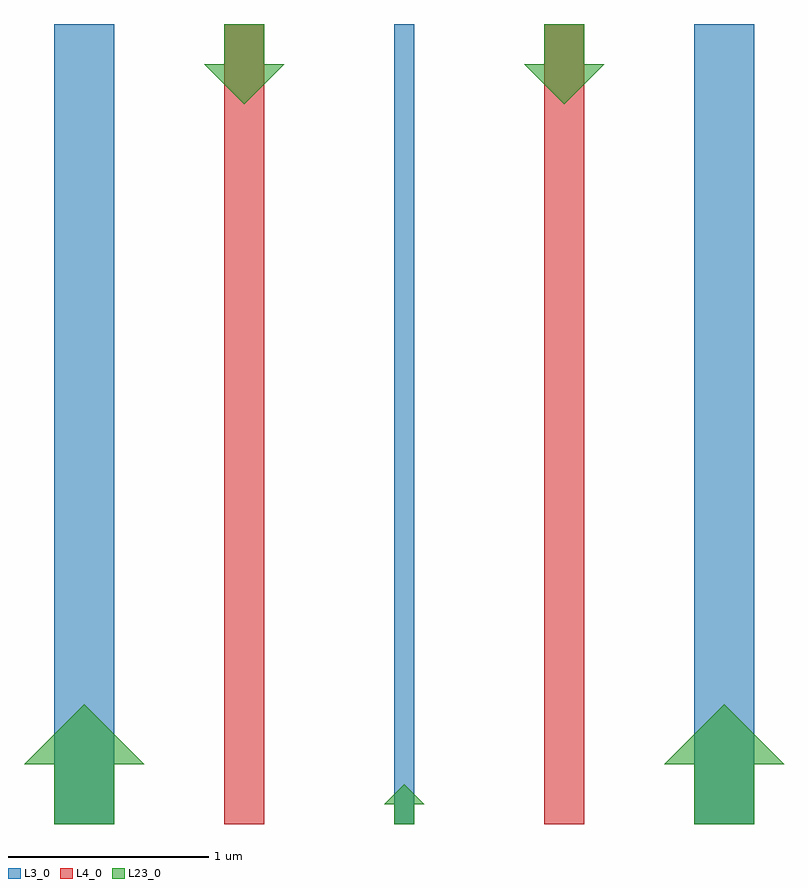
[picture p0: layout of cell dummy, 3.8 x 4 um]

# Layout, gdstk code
from math import pi, radians
import gdstk
lib = gdstk.Library(unit=1e-6, precision=1e-09)
def R(c, l, rs):  # rectangles x0, y0, x1, y1
    for r in rs: c.add(gdstk.rectangle(r[:2], r[2:], *l))
def P(c, l, *ps):  # polygons
    for p in ps: c.add(gdstk.Polygon(p, *l))
L3_0 = (3, 0)
L4_0 = (4, 0)
L23_0 = (23, 0)

mark = lib.new_cell('mark')
P(mark, L23_0, [(0.5,0),(0.5,1),(1,1),(0,2),(-1,1),(-0.5,1),(-0.5,0)])

dummy = lib.new_cell('dummy')
R(dummy, L3_0, [(-1.75,-2,-1.45,2), (-0.05,-2,0.05,2), (1.45,-2,1.75,2)])
R(dummy, L4_0, [(-0.9,-2,-0.7,2), (0.7,-2,0.9,2)])
dummy.add(gdstk.Reference(mark, (-1.6,-2), magnification=0.3))
dummy.add(gdstk.Reference(mark, (0,-2), magnification=0.1))
dummy.add(gdstk.Reference(mark, (1.6,-2), magnification=0.3))
dummy.add(gdstk.Reference(mark, (-0.8,2), rotation=pi, magnification=0.2))
dummy.add(gdstk.Reference(mark, (0.8,2), rotation=pi, magnification=0.2))

lib.write_gds('dummy.gds')
